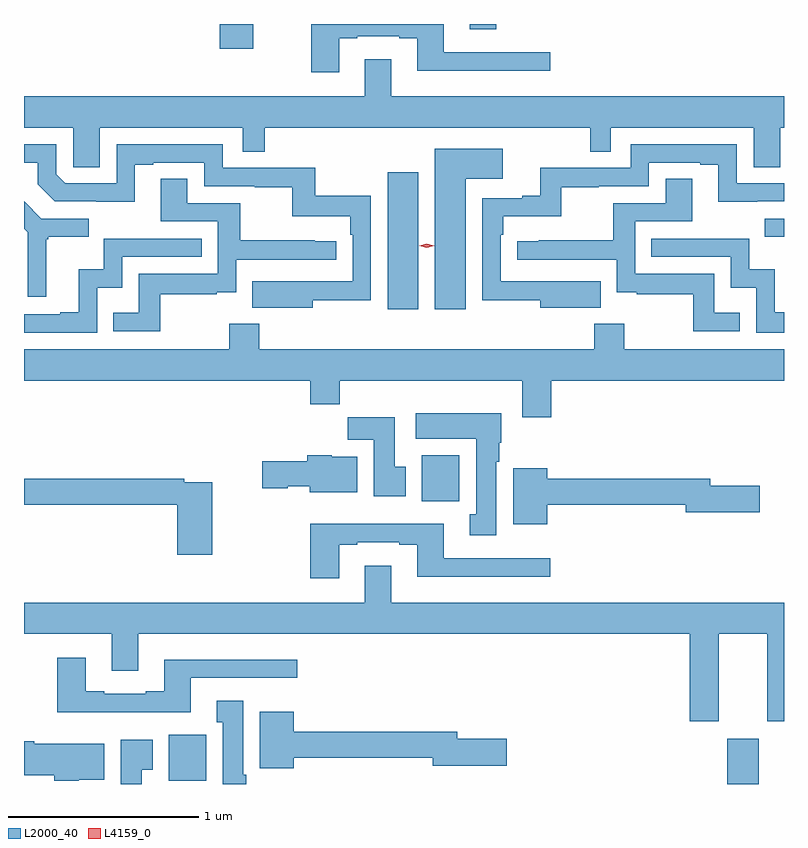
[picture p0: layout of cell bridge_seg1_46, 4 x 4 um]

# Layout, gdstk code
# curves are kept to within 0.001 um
import gdstk
lib = gdstk.Library(unit=1e-6, precision=1e-09)
def R(c, l, rs):  # rectangles x0, y0, x1, y1
    for r in rs: c.add(gdstk.rectangle(r[:2], r[2:], *l))
def P(c, l, *ps):  # polygons
    for p in ps: c.add(gdstk.Polygon(p, *l))
L2000_40 = (2000, 40)
L4159_0 = (4159, 0)

bridge_seg1_46 = lib.new_cell('bridge_seg1_46')
R(bridge_seg1_46, L2000_40, [(978.083,521.637,978.247,521.875), (975.143,521.654,975.34,521.896), (976.475,523.124,976.672,523.366), (976.295,524.136,976.456,524.857), (978.279,524.516,978.381,524.613), (975.41,525.507,975.588,525.637), (976.727,525.609,976.867,525.637)])
P(bridge_seg1_46, L2000_40, [(976.039,525.561),(976.135,525.561),(976.135,525.573),(976.355,525.573),(976.355,525.561),(976.451,525.561),(976.451,525.392),(977.152,525.392),(977.152,525.489),(976.591,525.489),(976.591,525.637),(975.892,525.637),(975.892,525.384),(976.039,525.384)],
  [(974.779,525.092),(975.531,525.092),(975.531,524.965),(975.647,524.965),(975.647,525.092),(977.361,525.092),(977.361,524.965),(977.469,524.965),(977.469,525.092),(978.221,525.092),(978.221,524.884),(978.36,524.884),(978.36,525.092),(978.381,525.092),(978.381,525.256),(976.315,525.256),(976.315,525.451),(976.175,525.451),(976.175,525.256),(974.381,525.256),(974.381,525.092),(974.64,525.092),(974.64,524.884),(974.779,524.884)],
  [(975.901,524.182),(976.206,524.182),(976.206,524.734),(975.913,524.734),(975.913,524.88),(975.426,524.88),(975.426,525.003),(974.868,525.003),(974.868,524.799),(974.598,524.799),(974.55,524.847),(974.55,525.003),(974.381,525.003),(974.381,524.907),(974.454,524.907),(974.454,524.793),(974.544,524.703),(974.965,524.702),(974.965,524.895),(975.061,524.895),(975.061,524.907),(975.33,524.907),(975.33,524.784),(975.595,524.784),(975.595,524.779),(975.792,524.779),(975.792,524.624),(976.097,524.624),(976.097,524.528),(976.11,524.528),(976.11,524.283),(975.583,524.284),(975.583,524.144),(975.901,524.144)],
  [(977.417,524.284),(977.203,524.284),(977.203,524.283),(976.89,524.283),(976.89,524.528),(976.904,524.528),(976.904,524.624),(977.209,524.624),(977.209,524.779),(977.405,524.779),(977.405,524.784),(977.67,524.784),(977.67,524.907),(977.939,524.907),(977.939,524.895),(978.035,524.895),(978.035,524.702),(978.24,524.702),(978.24,524.703),(978.381,524.703),(978.381,524.799),(978.132,524.799),(978.132,525.003),(977.574,525.003),(977.574,524.88),(977.099,524.88),(977.099,524.734),(977.003,524.734),(977.003,524.721),(976.794,524.721),(976.794,524.182),(977.099,524.182),(977.099,524.144),(977.417,524.144)],
  [(976.705,524.822),(976.9,524.822),(976.9,524.98),(976.544,524.98),(976.544,524.136),(976.705,524.136)],
  [(975.097,524.214),(975.395,524.214),(975.395,524.225),(975.498,524.225),(975.498,524.397),(976.024,524.397),(976.024,524.493),(975.911,524.493),(975.911,524.498),(975.518,524.498),(975.518,524.694),(975.241,524.694),(975.241,524.822),(975.101,524.822),(975.101,524.598),(975.402,524.598),(975.402,524.322),(974.986,524.322),(974.986,524.116),(974.851,524.116),(974.851,524.019),(975.097,524.019)],
  [(978.149,524.116),(978.015,524.116),(978.015,524.322),(977.598,524.322),(977.598,524.598),(977.899,524.598),(977.899,524.822),(977.759,524.822),(977.759,524.694),(977.482,524.694),(977.482,524.498),(977.089,524.498),(977.089,524.493),(976.977,524.493),(976.977,524.397),(977.502,524.397),(977.502,524.225),(977.605,524.225),(977.605,524.214),(977.904,524.214),(977.904,524.019),(978.149,524.019)],
  [(974.497,524.505),(974.509,524.505),(974.509,524.516),(974.722,524.516),(974.722,524.613),(974.472,524.613),(974.381,524.704),(974.381,524.56),(974.4,524.541),(974.4,524.202),(974.497,524.202)],
  [(974.766,524.249),(974.898,524.249),(974.898,524.412),(975.317,524.412),(975.317,524.508),(974.802,524.508),(974.802,524.347),(974.669,524.347),(974.669,524.121),(974.573,524.121),(974.573,524.109),(974.381,524.109),(974.381,524.013),(974.766,524.013)],
  [(978.381,524.121),(978.331,524.121),(978.331,524.347),(978.198,524.347),(978.198,524.508),(977.683,524.508),(977.683,524.412),(978.102,524.412),(978.102,524.249),(978.234,524.249),(978.234,524.013),(978.381,524.013)],
  [(977.156,523.76),(978.381,523.76),(978.381,523.924),(977.541,523.924),(977.541,524.059),(977.381,524.059),(977.381,523.924),(975.62,523.924),(975.62,524.059),(975.46,524.059),(975.46,523.924),(974.381,523.924),(974.381,523.76),(975.887,523.76),(975.887,523.636),(976.043,523.636),(976.043,523.76),(977.003,523.76),(977.003,523.566),(977.156,523.566)],
  [(976.867,523.334),(976.882,523.334),(976.882,523.434),(976.894,523.434),(976.894,523.588),(976.443,523.588),(976.443,523.454),(976.76,523.454),(976.76,523.058),(976.727,523.058),(976.727,522.945),(976.867,522.945)],
  [(976.39,523.308),(976.333,523.308),(976.333,523.567),(976.084,523.567),(976.084,523.448),(976.223,523.448),(976.223,523.152),(976.39,523.152)],
  [(976.135,523.36),(976.002,523.36),(976.002,523.366),(975.872,523.366),(975.872,523.335),(975.636,523.335),(975.636,523.193),(975.768,523.193),(975.768,523.205),(975.884,523.205),(975.884,523.172),(976.135,523.172)],
  [(977.134,523.108),(977.864,523.108),(977.864,523.066),(978.253,523.066),(978.253,523.208),(977.992,523.208),(977.992,523.244),(977.134,523.244),(977.134,523.3),(976.955,523.3),(976.955,523.004),(977.134,523.004)],
  [(975.371,523.224),(975.224,523.224),(975.224,523.244),(974.381,523.244),(974.381,523.108),(975.188,523.108),(975.188,522.843),(975.371,522.843)],
  [(976.039,522.897),(976.135,522.897),(976.135,522.909),(976.355,522.909),(976.355,522.897),(976.451,522.897),(976.451,522.728),(977.152,522.728),(977.152,522.825),(976.591,522.825),(976.591,523.006),(975.887,523.006),(975.887,522.72),(976.039,522.72)],
  [(978.037,522.428),(978.293,522.428),(978.293,521.967),(978.381,521.967),(978.381,522.592),(976.315,522.592),(976.315,522.787),(976.175,522.787),(976.175,522.592),(974.381,522.592),(974.381,522.428),(974.843,522.428),(974.843,522.234),(974.983,522.234),(974.983,522.428),(977.885,522.428),(977.885,521.967),(978.037,521.967)],
  [(975.259,522.195),(975.82,522.195),(975.82,522.292),(975.119,522.292),(975.119,522.124),(975.023,522.124),(975.023,522.111),(974.803,522.111),(974.803,522.124),(974.707,522.124),(974.707,522.301),(974.555,522.301),(974.555,522.014),(975.259,522.014)],
  [(975.55,521.686),(975.535,521.686),(975.535,522.076),(975.395,522.076),(975.395,521.963),(975.428,521.963),(975.428,521.637),(975.55,521.637)],
  [(975.802,521.776),(976.532,521.776),(976.532,521.734),(976.921,521.734),(976.921,521.876),(976.66,521.876),(976.66,521.912),(975.802,521.912),(975.802,522.016),(975.623,522.016),(975.623,521.72),(975.802,521.72)],
  [(975.001,521.713),(975.058,521.713),(975.058,521.869),(974.891,521.869),(974.891,521.637),(975.001,521.637)],
  [(974.67,521.66),(974.803,521.66),(974.803,521.848),(974.434,521.848),(974.434,521.861),(974.381,521.861),(974.381,521.683),(974.54,521.683),(974.54,521.654),(974.67,521.654)])
P(bridge_seg1_46, L4159_0, [(976.5,524.46),(976.46,524.469),(976.46,524.47),(976.46,524.47),(976.5,524.48),(976.54,524.47),(976.54,524.469),(976.54,524.469)])

lib.write_gds('bridge_seg1_46.gds')
